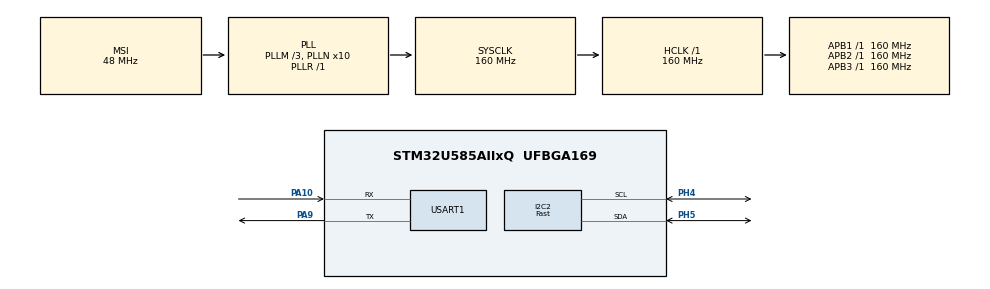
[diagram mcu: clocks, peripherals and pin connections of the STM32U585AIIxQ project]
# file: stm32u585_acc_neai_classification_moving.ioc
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CORTEX_M33_NS.userName=CORTEX_M33
I2C2.I2C_Speed_Mode=I2C_Fast
I2C2.Timing=0x00F07BFF
Mcu.Family=STM32U5
Mcu.Name=STM32U585AIIxQ
Mcu.Package=UFBGA169
NVIC.PriorityGroup=NVIC_PRIORITYGROUP_4
PA10.Mode=Asynchronous
PA10.Signal=USART1_RX
PA13\ (JTMS/SWDIO).Mode=Serial_Wire
PA13\ (JTMS/SWDIO).Signal=DEBUG_JTMS-SWDIO
PA14\ (JTCK/SWCLK).Mode=Serial_Wire
PA14\ (JTCK/SWCLK).Signal=DEBUG_JTCK-SWCLK
PA9.Mode=Asynchronous
PA9.Signal=USART1_TX
PH4.Mode=I2C
PH4.Signal=I2C2_SCL
PH5.Mode=I2C
PH5.Signal=I2C2_SDA
PWR.PowerMode=PWR_SMPS_SUPPLY
ProjectManager.HeapSize=0x200
ProjectManager.StackSize=0x400
ProjectManager.TargetToolchain=STM32CubeIDE
RCC.ADCFreq_Value=16000000
RCC.AHBFreq_Value=160000000
RCC.APB1Freq_Value=160000000
RCC.APB1TimFreq_Value=160000000
RCC.APB2Freq_Value=160000000
RCC.APB2TimFreq_Value=160000000
RCC.APB3Freq_Value=160000000
RCC.CortexFreq_Value=160000000
RCC.EPOD_VALUE=48000000
RCC.HCLKFreq_Value=160000000
RCC.HSE_VALUE=16000000
RCC.HSI48_VALUE=48000000
RCC.HSI_VALUE=16000000
RCC.LSE_VALUE=32768
RCC.LSIDIV_VALUE=32000
RCC.MSIClockRange=RCC_MSIRANGE_0
RCC.MSI_VALUE=48000000
RCC.PLL1R=1
RCC.PLL2FRACN=0
RCC.PLL3FRACN=0
RCC.PLLFRACN=0
RCC.PLLM=3
RCC.PLLN=10
RCC.SYSCLKFreq_VALUE=160000000
RCC.SYSCLKSource=RCC_SYSCLKSOURCE_PLLCLK
RCC.USBFreq_Value=48000000
RCC.VCOOutputFreq_Value=160000000
USART1.VirtualMode-Asynchronous=VM_ASYNC
VP_ICACHE_VS_ICACHE.Mode=DirectMappedCache
VP_LPBAMQUEUE_VS_QUEUE.Mode=QUEUEMODE
VP_LPBAM_VS_SIG1.Mode=SmartRun
VP_LPBAM_VS_SIG4.Mode=LPDMA1
VP_MEMORYMAP_VS_MEMORYMAP.Mode=CurAppReg
VP_PWR_VS_DBSignals.Mode=DisableDeadBatterySignals
VP_PWR_VS_LPOM.Mode=PowerOptimisation
VP_PWR_VS_SECSignals.Mode=Security/Privilege
board=custom

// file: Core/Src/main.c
/* USER CODE BEGIN Header */
/**
  ******************************************************************************
  * @file           : main.c
  * @brief          : Main program body
  ******************************************************************************
  * @attention
  *
  * Copyright (c) 2024 STMicroelectronics.
  * All rights reserved.
  *
  * This software is licensed under terms that can be found in the LICENSE file
  * in the root directory of this software component.
  * If no LICENSE file comes with this software, it is provided AS-IS.
  *
  ******************************************************************************
  */
/* USER CODE END Header */
#include "main.h"

/* USER CODE BEGIN Includes */
#include "ism330dhcx_sensor.h"
#include "NanoEdgeAI.h"
#include "knowledge.h"
/* USER CODE END Includes */

I2C_HandleTypeDef hi2c2;

UART_HandleTypeDef huart1;

void SystemClock_Config(void);
static void SystemPower_Config(void);
static void MX_GPIO_Init(void);
static void MX_I2C2_Init(void);
static void MX_USART1_UART_Init(void);
static void MX_ICACHE_Init(void);

/* USER CODE BEGIN 0 */
#define NEAI_INFERENCT_MODE		1 // 0: Data logging mode, 1: NanoEdgeAI functions mode

#if(NEAI_INFERENCT_MODE==1)
float input_user_buffer[DATA_INPUT_USER * AXIS_NUMBER]; // Buffer of input values
#else
#define DATA_INPUT_USER_TRAIN 128
float input_user_buffer[DATA_INPUT_USER_TRAIN * AXIS_NUMBER]; // Buffer of input values
#endif

float output_class_buffer[CLASS_NUMBER]; // Buffer of class probabilities
uint16_t id_class = 0;

/* USER CODE END 0 */

int main(void)
{

  /* MCU Configuration--------------------------------------------------------*/

  /* Reset of all peripherals, Initializes the Flash interface and the Systick. */
  HAL_Init();

  /* Configure the system clock */
  SystemClock_Config();

  /* Configure the System Power */
  SystemPower_Config();

  /* Initialize all configured peripherals */
  MX_GPIO_Init();
  MX_I2C2_Init();
  MX_USART1_UART_Init();
  MX_ICACHE_Init();
  /* USER CODE BEGIN 2 */

  printf("\r\n\r\n=============================================== \r\n");
  ism330dhcx_init();

  printf("Acceleration abnormal detection NEAI Model Init \r\n");
  if(neai_classification_init(knowledge) != NEAI_OK)
  {
    Error_Handler();
  }

  /* USER CODE END 2 */

  /* Infinite loop */
  /* USER CODE BEGIN WHILE */
  while (1)
  {
#if(NEAI_INFERENCT_MODE==1)
	  for(int i = 0; i < DATA_INPUT_USER; i++)
	  {
	    do {
	      __asm("nop");
	      __asm("nop");
	    } while (!is_accel_data_ready());
	    ism330dhck_read_acc(&input_user_buffer[i*AXIS_NUMBER]);
	  }
	  neai_classification(input_user_buffer, output_class_buffer, &id_class);

	  switch(id_class){
	    case 1:
	      printf("Right \r\n");
		  break;
	    case 2:
	      printf("Left \r\n");
		  break;
	    case 3:
	      printf("SWIPE \r\n");
		  break;
	    default:
		  break;
	  }
#else
	  for(int i = 0; i < DATA_INPUT_USER_TRAIN; i++)
	  {
	    do {
		  __asm("nop");
		  __asm("nop");
	    } while (!is_accel_data_ready());
        ism330dhck_read_acc(&input_user_buffer[i*AXIS_NUMBER]);
        printf("%.1f %.1f %.1f ", input_user_buffer[i*AXIS_NUMBER], input_user_buffer[i*AXIS_NUMBER+1], input_user_buffer[i*AXIS_NUMBER+2]);
	  }
	  printf("\n");
#endif

    /* USER CODE END WHILE */

  }
}

void SystemClock_Config(void)
{
  RCC_OscInitTypeDef RCC_OscInitStruct = {0};
  RCC_ClkInitTypeDef RCC_ClkInitStruct = {0};

  /** Configure the main internal regulator output voltage
  */
  if (HAL_PWREx_ControlVoltageScaling(PWR_REGULATOR_VOLTAGE_SCALE1) != HAL_OK)
  {
    Error_Handler();
  }

  /** Initializes the CPU, AHB and APB buses clocks
  */
  RCC_OscInitStruct.OscillatorType = RCC_OSCILLATORTYPE_MSI;
  RCC_OscInitStruct.MSIState = RCC_MSI_ON;
  RCC_OscInitStruct.MSICalibrationValue = RCC_MSICALIBRATION_DEFAULT;
  RCC_OscInitStruct.MSIClockRange = RCC_MSIRANGE_0;
  RCC_OscInitStruct.PLL.PLLState = RCC_PLL_ON;
  RCC_OscInitStruct.PLL.PLLSource = RCC_PLLSOURCE_MSI;
  RCC_OscInitStruct.PLL.PLLMBOOST = RCC_PLLMBOOST_DIV4;
  RCC_OscInitStruct.PLL.PLLM = 3;
  RCC_OscInitStruct.PLL.PLLN = 10;
  RCC_OscInitStruct.PLL.PLLP = 2;
  RCC_OscInitStruct.PLL.PLLQ = 2;
  RCC_OscInitStruct.PLL.PLLR = 1;
  RCC_OscInitStruct.PLL.PLLRGE = RCC_PLLVCIRANGE_1;
  RCC_OscInitStruct.PLL.PLLFRACN = 0;
  if (HAL_RCC_OscConfig(&RCC_OscInitStruct) != HAL_OK)
  {
    Error_Handler();
  }

  /** Initializes the CPU, AHB and APB buses clocks
  */
  RCC_ClkInitStruct.ClockType = RCC_CLOCKTYPE_HCLK|RCC_CLOCKTYPE_SYSCLK
                              |RCC_CLOCKTYPE_PCLK1|RCC_CLOCKTYPE_PCLK2
                              |RCC_CLOCKTYPE_PCLK3;
  RCC_ClkInitStruct.SYSCLKSource = RCC_SYSCLKSOURCE_PLLCLK;
  RCC_ClkInitStruct.AHBCLKDivider = RCC_SYSCLK_DIV1;
  RCC_ClkInitStruct.APB1CLKDivider = RCC_HCLK_DIV1;
  RCC_ClkInitStruct.APB2CLKDivider = RCC_HCLK_DIV1;
  RCC_ClkInitStruct.APB3CLKDivider = RCC_HCLK_DIV1;

  if (HAL_RCC_ClockConfig(&RCC_ClkInitStruct, FLASH_LATENCY_4) != HAL_OK)
  {
    Error_Handler();
  }
}

/**
  * @brief Power Configuration
  * @retval None
  */
static void SystemPower_Config(void)
{

  /*
   * Disable the internal Pull-Up in Dead Battery pins of UCPD peripheral
   */
  HAL_PWREx_DisableUCPDDeadBattery();

  /*
   * Switch to SMPS regulator instead of LDO
   */
  if (HAL_PWREx_ConfigSupply(PWR_SMPS_SUPPLY) != HAL_OK)
  {
    Error_Handler();
  }
}

static void MX_I2C2_Init(void)
{

  hi2c2.Instance = I2C2;
  hi2c2.Init.Timing = 0x00F07BFF;
  hi2c2.Init.OwnAddress1 = 0;
  hi2c2.Init.AddressingMode = I2C_ADDRESSINGMODE_7BIT;
  hi2c2.Init.DualAddressMode = I2C_DUALADDRESS_DISABLE;
  hi2c2.Init.OwnAddress2 = 0;
  hi2c2.Init.OwnAddress2Masks = I2C_OA2_NOMASK;
  hi2c2.Init.GeneralCallMode = I2C_GENERALCALL_DISABLE;
  hi2c2.Init.NoStretchMode = I2C_NOSTRETCH_DISABLE;
  if (HAL_I2C_Init(&hi2c2) != HAL_OK)
  {
    Error_Handler();
  }

  /** Configure Analogue filter
  */
  if (HAL_I2CEx_ConfigAnalogFilter(&hi2c2, I2C_ANALOGFILTER_ENABLE) != HAL_OK)
  {
    Error_Handler();
  }

  /** Configure Digital filter
  */
  if (HAL_I2CEx_ConfigDigitalFilter(&hi2c2, 0) != HAL_OK)
  {
    Error_Handler();
  }

}

static void MX_ICACHE_Init(void)
{

  /** Enable instruction cache in 1-way (direct mapped cache)
  */
  if (HAL_ICACHE_ConfigAssociativityMode(ICACHE_1WAY) != HAL_OK)
  {
    Error_Handler();
  }
  if (HAL_ICACHE_Enable() != HAL_OK)
  {
    Error_Handler();
  }

}

static void MX_USART1_UART_Init(void)
{

  huart1.Instance = USART1;
  huart1.Init.BaudRate = 115200;
  huart1.Init.WordLength = UART_WORDLENGTH_8B;
  huart1.Init.StopBits = UART_STOPBITS_1;
  huart1.Init.Parity = UART_PARITY_NONE;
  huart1.Init.Mode = UART_MODE_TX_RX;
  huart1.Init.HwFlowCtl = UART_HWCONTROL_NONE;
  huart1.Init.OverSampling = UART_OVERSAMPLING_16;
  huart1.Init.OneBitSampling = UART_ONE_BIT_SAMPLE_DISABLE;
  huart1.Init.ClockPrescaler = UART_PRESCALER_DIV1;
  huart1.AdvancedInit.AdvFeatureInit = UART_ADVFEATURE_NO_INIT;
  if (HAL_UART_Init(&huart1) != HAL_OK)
  {
    Error_Handler();
  }
  if (HAL_UARTEx_SetTxFifoThreshold(&huart1, UART_TXFIFO_THRESHOLD_1_8) != HAL_OK)
  {
    Error_Handler();
  }
  if (HAL_UARTEx_SetRxFifoThreshold(&huart1, UART_RXFIFO_THRESHOLD_1_8) != HAL_OK)
  {
    Error_Handler();
  }
  if (HAL_UARTEx_DisableFifoMode(&huart1) != HAL_OK)
  {
    Error_Handler();
  }

}

static void MX_GPIO_Init(void)
{

  /* GPIO Ports Clock Enable */
  __HAL_RCC_GPIOA_CLK_ENABLE();
  __HAL_RCC_GPIOH_CLK_ENABLE();

}

/* USER CODE BEGIN 4 */
#if 1

#ifdef __GNUC__
#define PUTCHAR_PROTOTYPE int __io_putchar(int ch)
#define GETCHAR_PROTOTYPE int __io_getchar(int ch)
#else
#define PUTCHAR_PROTOTYPE int fputc(int ch, FILE *f)
#define GETCHAR_PROTOTYPE int fgetc(FILE *f)
#endif

PUTCHAR_PROTOTYPE
{
  HAL_UART_Transmit(&huart1, (uint8_t*)&ch, 1, 0xFFFF);
  return ch;
}

#endif
/* USER CODE END 4 */

void Error_Handler(void)
{
  __disable_irq();
  while (1)
  {
  }
}
